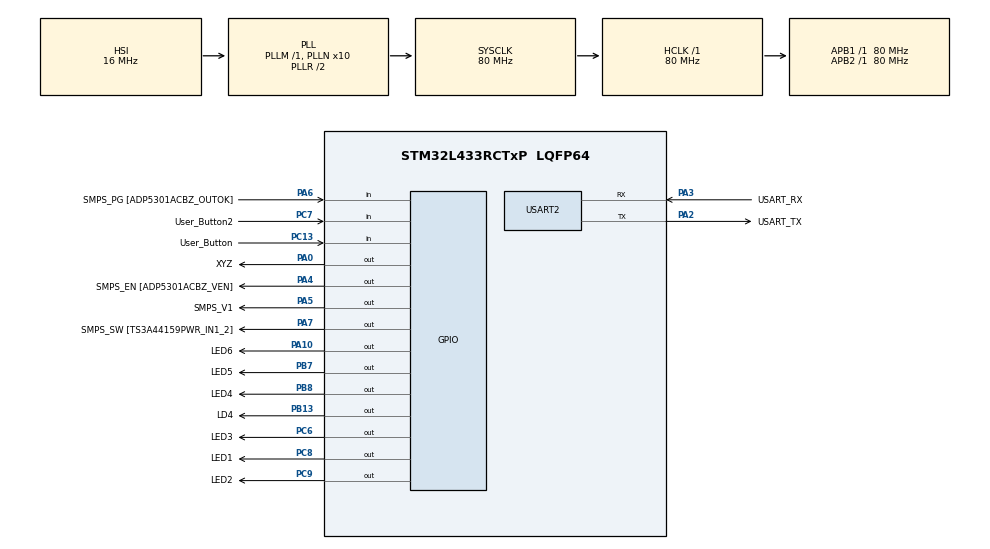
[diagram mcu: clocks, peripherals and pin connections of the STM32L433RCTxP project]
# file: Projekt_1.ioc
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Mcu.Family=STM32L4
Mcu.Name=STM32L433RCTxP
Mcu.Package=LQFP64
NVIC.PriorityGroup=NVIC_PRIORITYGROUP_4
PA0.GPIO_Label=XYZ
PA0.Signal=GPIO_Output
PA10.GPIO_Label=LED6
PA10.Signal=GPIO_Output
PA13\ (JTMS-SWDIO).GPIO_Label=TMS
PA13\ (JTMS-SWDIO).Mode=Serial_Wire
PA13\ (JTMS-SWDIO).Signal=SYS_JTMS-SWDIO
PA14\ (JTCK-SWCLK).GPIO_Label=TCK
PA14\ (JTCK-SWCLK).Mode=Serial_Wire
PA14\ (JTCK-SWCLK).Signal=SYS_JTCK-SWCLK
PA2.GPIO_Label=USART_TX
PA2.GPIO_Mode=GPIO_MODE_AF_PP
PA2.GPIO_PuPd=GPIO_NOPULL
PA2.GPIO_Speed=GPIO_SPEED_FREQ_VERY_HIGH
PA2.Mode=Asynchronous
PA2.Signal=USART2_TX
PA3.GPIO_Label=USART_RX
PA3.GPIO_Mode=GPIO_MODE_AF_PP
PA3.GPIO_PuPd=GPIO_NOPULL
PA3.GPIO_Speed=GPIO_SPEED_FREQ_VERY_HIGH
PA3.Mode=Asynchronous
PA3.Signal=USART2_RX
PA4.GPIO_Label=SMPS_EN [ADP5301ACBZ_VEN]
PA4.Signal=GPIO_Output
PA5.GPIO_Label=SMPS_V1
PA5.GPIO_ModeDefaultOutputPP=GPIO_MODE_OUTPUT_PP
PA5.GPIO_PuPd=GPIO_NOPULL
PA5.GPIO_Speed=GPIO_SPEED_FREQ_LOW
PA5.Signal=GPIO_Output
PA6.GPIO_Label=SMPS_PG [ADP5301ACBZ_OUTOK]
PA6.GPIO_PuPd=GPIO_PULLUP
PA6.Signal=GPIO_Input
PA7.GPIO_Label=SMPS_SW [TS3A44159PWR_IN1_2]
PA7.Signal=GPIO_Output
PB13.GPIO_Label=LD4
PB13.Signal=GPIO_Output
PB3\ (JTDO-TRACESWO).GPIO_Label=SWO
PB3\ (JTDO-TRACESWO).Signal=SYS_JTDO-SWO
PB7.GPIO_Label=LED5
PB7.Signal=GPIO_Output
PB8.GPIO_Label=LED4
PB8.Signal=GPIO_Output
PC13.GPIO_Label=User_Button
PC13.Signal=GPIO_Input
PC14-OSC32_IN\ (PC14).Mode=LSE-External-Oscillator
PC14-OSC32_IN\ (PC14).Signal=RCC_OSC32_IN
PC15-OSC32_OUT\ (PC15).Mode=LSE-External-Oscillator
PC15-OSC32_OUT\ (PC15).Signal=RCC_OSC32_OUT
PC6.GPIO_Label=LED3
PC6.Signal=GPIO_Output
PC7.GPIO_Label=User_Button2
PC7.GPIO_PuPd=GPIO_PULLUP
PC7.Signal=GPIO_Input
PC8.GPIO_Label=LED1
PC8.Signal=GPIO_Output
PC9.GPIO_Label=LED2
PC9.Signal=GPIO_Output
PH0-OSC_IN\ (PH0).GPIO_Label=MCO
PH0-OSC_IN\ (PH0).Mode=HSE-External-Clock-Source
PH0-OSC_IN\ (PH0).Signal=RCC_OSC_IN
PH1-OSC_OUT\ (PH1).Signal=RCC_OSC_OUT
ProjectManager.HeapSize=0x200
ProjectManager.StackSize=0x400
ProjectManager.TargetToolchain=STM32CubeIDE
RCC.ADCFreq_Value=64000000
RCC.AHBFreq_Value=80000000
RCC.APB1Freq_Value=80000000
RCC.APB1TimFreq_Value=80000000
RCC.APB2Freq_Value=80000000
RCC.APB2TimFreq_Value=80000000
RCC.CortexFreq_Value=80000000
RCC.HCLKFreq_Value=80000000
RCC.HSE_VALUE=8000000
RCC.HSI48_VALUE=48000000
RCC.HSI_VALUE=16000000
RCC.MSI_VALUE=4000000
RCC.PLLN=10
RCC.PLLSourceVirtual=RCC_PLLSOURCE_HSI
RCC.PREFETCH_ENABLE=1
RCC.SYSCLKFreq_VALUE=80000000
RCC.SYSCLKSource=RCC_SYSCLKSOURCE_PLLCLK
RCC.USBFreq_Value=64000000
RCC.VCOOutputFreq_Value=160000000
USART2.VirtualMode-Asynchronous=VM_ASYNC
board=NUCLEO-L433RC-P

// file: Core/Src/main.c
/* USER CODE BEGIN Header */
/**
  ******************************************************************************
  * @file           : main.c
  * @brief          : Main program body
  ******************************************************************************
  * @attention
  *
  * Copyright (c) 2023 STMicroelectronics.
  * All rights reserved.
  *
  * This software is licensed under terms that can be found in the LICENSE file
  * in the root directory of this software component.
  * If no LICENSE file comes with this software, it is provided AS-IS.
  *
  ******************************************************************************
  */
/* USER CODE END Header */
#include "main.h"

/* USER CODE BEGIN Includes */
#include <stdbool.h>
#include <stdio.h>
#include <string.h>

/* USER CODE END Includes */

UART_HandleTypeDef huart2;

void SystemClock_Config(void);
static void MX_GPIO_Init(void);
static void MX_USART2_UART_Init(void);

/* USER CODE BEGIN 0 */
typedef struct {
	GPIO_TypeDef* port;
	uint16_t pin;
}pin_t;

static const pin_t LED[] = {
		{ LED1_GPIO_Port, LED1_Pin },
		{ LED2_GPIO_Port, LED2_Pin },
		{ LED3_GPIO_Port, LED3_Pin },
		{ LED4_GPIO_Port, LED4_Pin },
		{ LED5_GPIO_Port, LED5_Pin },
		{ LED6_GPIO_Port, LED6_Pin },
};

void led_set(int led, bool turn_on)
{
	GPIO_PinState state = (turn_on) ? GPIO_PIN_SET : GPIO_PIN_RESET;

	if (led >= 0 && led < 6) {
		HAL_GPIO_WritePin(LED[led].port, LED[led].pin, state);
        }
}
bool is_button_pressed(int button) {
  switch (button) {
  case 0:
    if (HAL_GPIO_ReadPin(User_Button_GPIO_Port, User_Button_Pin) == GPIO_PIN_RESET) {
      return true;
      printf("UB1 True");
    } else {
      return false;
      printf("UB1 False");
    }
  case 1:
    if (HAL_GPIO_ReadPin(User_Button2_GPIO_Port, User_Button2_Pin) == GPIO_PIN_RESET) {
      return true;
      printf("UB2 False");
    } else {
      return false;
      printf("UB2 True");
    }

  default:
    return false;
  }
}
int __io_putchar(int ch)
{
    if (ch == '\n') {
        uint8_t ch2 = '\r';
        HAL_UART_Transmit(&huart2, &ch2, 1, HAL_MAX_DELAY);
    }

    HAL_UART_Transmit(&huart2, (uint8_t*)&ch, 1, HAL_MAX_DELAY);
    return 1;
}
#define LINE_MAX_LENGTH	80

static char line_buffer[LINE_MAX_LENGTH + 1];
static uint32_t line_length;

void line_append(uint8_t value)
{
	if (value == '\r' || value == '\n') {
		// odebraliśmy znak końca linii
		if (line_length > 0) {
			// dodajemy 0 na końcu linii
			line_buffer[line_length] = '\0';
			// przetwarzamy dane
			if (strcmp(line_buffer, "linijka") == 0)
			{
				 for(int i =0; i <6; i++)
				                {
				                    HAL_GPIO_WritePin(LED[i].port, LED[i].pin, GPIO_PIN_SET);
				                    HAL_Delay(250);
				                    HAL_GPIO_WritePin(LED[i].port, LED[i].pin, GPIO_PIN_RESET);
				                    if(i == 5)
				                    {
				                        for(int a = 5; a > 0 ; a--)
				                        {
				                            HAL_GPIO_WritePin(LED[a].port, LED[a].pin, GPIO_PIN_SET);
				                            HAL_Delay(250);
				                            HAL_GPIO_WritePin(LED[a].port, LED[a].pin, GPIO_PIN_RESET);
				                        }
				                    }
				                }

			}
			else if (strcmp(line_buffer, "off") == 0)
			{
				for(int i =0; i <6; i++)
				                {
				                    HAL_GPIO_WritePin(LED[i].port, LED[i].pin, GPIO_PIN_RESET);
				                }
			}
			else if(strcmp(line_buffer, "on") == 0)
			{
				for(int i =0; i <6; i++)
				                {
				                    HAL_GPIO_WritePin(LED[i].port, LED[i].pin, GPIO_PIN_SET);
				                }
			}
			else
			{
				printf("Nieznane polecenie: %s\n", line_buffer);
			}
			// zaczynamy zbieranie danych od nowa
			line_length = 0;
		}
	}
	else {
		if (line_length >= LINE_MAX_LENGTH) {
			// za dużo danych, usuwamy wszystko co odebraliśmy dotychczas
			line_length = 0;
		}
		// dopisujemy wartość do bufora
		line_buffer[line_length++] = value;
	}
}
/* USER CODE END 0 */

int main(void)
{

  /* MCU Configuration--------------------------------------------------------*/

  /* Reset of all peripherals, Initializes the Flash interface and the Systick. */
  HAL_Init();

  /* Configure the system clock */
  SystemClock_Config();

  /* Initialize all configured peripherals */
  MX_GPIO_Init();
  MX_USART2_UART_Init();

  /* Infinite loop */
  /* USER CODE BEGIN WHILE */
  int led = 0;
  led_set(led, true);
  while (1)
  {
	/*  if (is_button_pressed(0)) {
	  		// Po wcisnieciu przycisku wylacz diodę
	  		led_set(led, false);

	  		// Zwieksz zawartosc zmiennej led
	  		led++;
	  		// Sprawdz czy nie przekracza zakresu
	  		if (led >= 6) {
	  		  led = 0;
	  		}

	  		// Wlacz kolejna diode
	  		led_set(led, true);

	  		// czekamy na zwolnienie przycisku
	  		while (is_button_pressed(0)) {}
	  	}

	  	if (is_button_pressed(1)) {
	  		// Po wcisnieciu przycisku wylacz diodę
	  		led_set(led, false);

	  		// Zmniejsz zawartosc zmiennej led
	  		led--;
	  		// Sprawdz czy nie przekracza zakresu
	  		if (led < 0) {
	  		  led = 5;
	  		}

	  		// Wlacz kolejna diode
	  		led_set(led, true);
	  		 HAL_Delay(20);
	  		// czekamy na zwolnienie przycisku
	  		while (is_button_pressed(1)) {}
	  		 HAL_Delay(20);
	  		 */
	  	  uint8_t value;

	 	  if (HAL_UART_Receive(&huart2, &value, 1, 0) == HAL_OK)
	 		  line_append(value);
	  	}

    /* USER CODE END WHILE */

  }

void SystemClock_Config(void)
{
  RCC_OscInitTypeDef RCC_OscInitStruct = {0};
  RCC_ClkInitTypeDef RCC_ClkInitStruct = {0};

  /** Configure the main internal regulator output voltage
  */
  if (HAL_PWREx_ControlVoltageScaling(PWR_REGULATOR_VOLTAGE_SCALE1) != HAL_OK)
  {
    Error_Handler();
  }

  /** Initializes the RCC Oscillators according to the specified parameters
  * in the RCC_OscInitTypeDef structure.
  */
  RCC_OscInitStruct.OscillatorType = RCC_OSCILLATORTYPE_HSI;
  RCC_OscInitStruct.HSIState = RCC_HSI_ON;
  RCC_OscInitStruct.HSICalibrationValue = RCC_HSICALIBRATION_DEFAULT;
  RCC_OscInitStruct.PLL.PLLState = RCC_PLL_ON;
  RCC_OscInitStruct.PLL.PLLSource = RCC_PLLSOURCE_HSI;
  RCC_OscInitStruct.PLL.PLLM = 1;
  RCC_OscInitStruct.PLL.PLLN = 10;
  RCC_OscInitStruct.PLL.PLLP = RCC_PLLP_DIV7;
  RCC_OscInitStruct.PLL.PLLQ = RCC_PLLQ_DIV2;
  RCC_OscInitStruct.PLL.PLLR = RCC_PLLR_DIV2;
  if (HAL_RCC_OscConfig(&RCC_OscInitStruct) != HAL_OK)
  {
    Error_Handler();
  }

  /** Initializes the CPU, AHB and APB buses clocks
  */
  RCC_ClkInitStruct.ClockType = RCC_CLOCKTYPE_HCLK|RCC_CLOCKTYPE_SYSCLK
                              |RCC_CLOCKTYPE_PCLK1|RCC_CLOCKTYPE_PCLK2;
  RCC_ClkInitStruct.SYSCLKSource = RCC_SYSCLKSOURCE_PLLCLK;
  RCC_ClkInitStruct.AHBCLKDivider = RCC_SYSCLK_DIV1;
  RCC_ClkInitStruct.APB1CLKDivider = RCC_HCLK_DIV1;
  RCC_ClkInitStruct.APB2CLKDivider = RCC_HCLK_DIV1;

  if (HAL_RCC_ClockConfig(&RCC_ClkInitStruct, FLASH_LATENCY_4) != HAL_OK)
  {
    Error_Handler();
  }
}

static void MX_USART2_UART_Init(void)
{

  huart2.Instance = USART2;
  huart2.Init.BaudRate = 115200;
  huart2.Init.WordLength = UART_WORDLENGTH_8B;
  huart2.Init.StopBits = UART_STOPBITS_1;
  huart2.Init.Parity = UART_PARITY_NONE;
  huart2.Init.Mode = UART_MODE_TX_RX;
  huart2.Init.HwFlowCtl = UART_HWCONTROL_NONE;
  huart2.Init.OverSampling = UART_OVERSAMPLING_16;
  huart2.Init.OneBitSampling = UART_ONE_BIT_SAMPLE_DISABLE;
  huart2.AdvancedInit.AdvFeatureInit = UART_ADVFEATURE_NO_INIT;
  if (HAL_UART_Init(&huart2) != HAL_OK)
  {
    Error_Handler();
  }

}

static void MX_GPIO_Init(void)
{
  GPIO_InitTypeDef GPIO_InitStruct = {0};

  /* GPIO Ports Clock Enable */
  __HAL_RCC_GPIOC_CLK_ENABLE();
  __HAL_RCC_GPIOH_CLK_ENABLE();
  __HAL_RCC_GPIOA_CLK_ENABLE();
  __HAL_RCC_GPIOB_CLK_ENABLE();

  /*Configure GPIO pin Output Level */
  HAL_GPIO_WritePin(GPIOA, XYZ_Pin|SMPS_EN_Pin|SMPS_V1_Pin|SMPS_SW_Pin
                          |LED6_Pin, GPIO_PIN_RESET);

  /*Configure GPIO pin Output Level */
  HAL_GPIO_WritePin(GPIOB, LD4_Pin|LED5_Pin|LED4_Pin, GPIO_PIN_RESET);

  /*Configure GPIO pin Output Level */
  HAL_GPIO_WritePin(GPIOC, LED3_Pin|LED1_Pin|LED2_Pin, GPIO_PIN_RESET);

  /*Configure GPIO pin : User_Button_Pin */
  GPIO_InitStruct.Pin = User_Button_Pin;
  GPIO_InitStruct.Mode = GPIO_MODE_INPUT;
  GPIO_InitStruct.Pull = GPIO_NOPULL;
  HAL_GPIO_Init(User_Button_GPIO_Port, &GPIO_InitStruct);

  /*Configure GPIO pins : XYZ_Pin SMPS_EN_Pin SMPS_V1_Pin SMPS_SW_Pin
                           LED6_Pin */
  GPIO_InitStruct.Pin = XYZ_Pin|SMPS_EN_Pin|SMPS_V1_Pin|SMPS_SW_Pin
                          |LED6_Pin;
  GPIO_InitStruct.Mode = GPIO_MODE_OUTPUT_PP;
  GPIO_InitStruct.Pull = GPIO_NOPULL;
  GPIO_InitStruct.Speed = GPIO_SPEED_FREQ_LOW;
  HAL_GPIO_Init(GPIOA, &GPIO_InitStruct);

  /*Configure GPIO pin : SMPS_PG_Pin */
  GPIO_InitStruct.Pin = SMPS_PG_Pin;
  GPIO_InitStruct.Mode = GPIO_MODE_INPUT;
  GPIO_InitStruct.Pull = GPIO_PULLUP;
  HAL_GPIO_Init(SMPS_PG_GPIO_Port, &GPIO_InitStruct);

  /*Configure GPIO pins : LD4_Pin LED5_Pin LED4_Pin */
  GPIO_InitStruct.Pin = LD4_Pin|LED5_Pin|LED4_Pin;
  GPIO_InitStruct.Mode = GPIO_MODE_OUTPUT_PP;
  GPIO_InitStruct.Pull = GPIO_NOPULL;
  GPIO_InitStruct.Speed = GPIO_SPEED_FREQ_LOW;
  HAL_GPIO_Init(GPIOB, &GPIO_InitStruct);

  /*Configure GPIO pins : LED3_Pin LED1_Pin LED2_Pin */
  GPIO_InitStruct.Pin = LED3_Pin|LED1_Pin|LED2_Pin;
  GPIO_InitStruct.Mode = GPIO_MODE_OUTPUT_PP;
  GPIO_InitStruct.Pull = GPIO_NOPULL;
  GPIO_InitStruct.Speed = GPIO_SPEED_FREQ_LOW;
  HAL_GPIO_Init(GPIOC, &GPIO_InitStruct);

  /*Configure GPIO pin : User_Button2_Pin */
  GPIO_InitStruct.Pin = User_Button2_Pin;
  GPIO_InitStruct.Mode = GPIO_MODE_INPUT;
  GPIO_InitStruct.Pull = GPIO_PULLUP;
  HAL_GPIO_Init(User_Button2_GPIO_Port, &GPIO_InitStruct);

}

void Error_Handler(void)
{
  __disable_irq();
  while (1)
  {
  }
}
